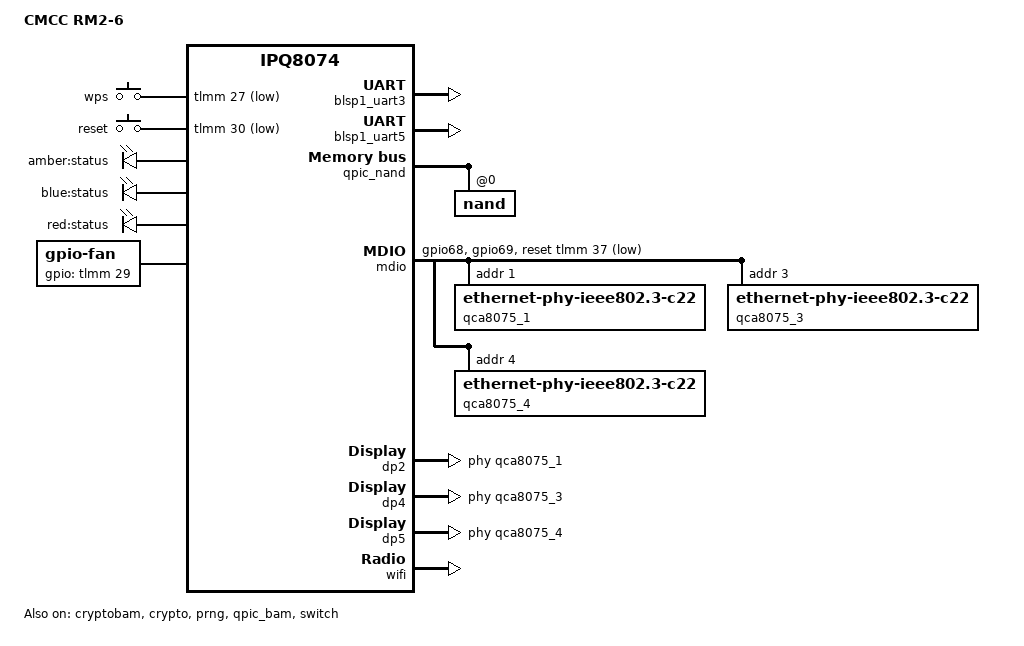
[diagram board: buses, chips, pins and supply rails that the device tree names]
// SPDX-License-Identifier: GPL-2.0-or-later OR MIT

/dts-v1/;

#include "ipq8074-512m.dtsi"
#include "ipq8074-ac-cpu.dtsi"
#include "ipq8074-ess.dtsi"
#include "ipq8074-nss.dtsi"
#include <dt-bindings/gpio/gpio.h>
#include <dt-bindings/input/input.h>

/ {
	model = "CMCC RM2-6";
	compatible = "cmcc,rm2-6", "qcom,ipq8074";

	aliases {
		serial0 = &blsp1_uart5;
		serial1 = &blsp1_uart3;
		led-boot = &led_status_red;
		led-failsafe = &led_status_red;
		led-running = &led_status_blue;
		led-upgrade = &led_status_amber;
		/*
		 * Aliases as required by u-boot
		 * to patch MAC addresses
		 */
		ethernet0 = &dp4;
		ethernet1 = &dp2;
		ethernet2 = &dp5;
		label-mac-device = &dp4;
	};

	chosen {
		stdout-path = "serial0:115200n8";
		bootargs-append = " root=/dev/ubiblock0_1";
	};

	keys {
		compatible = "gpio-keys";

		wps {
			label = "wps";
			linux,code = <KEY_WPS_BUTTON>;
			gpios = <&tlmm 27 GPIO_ACTIVE_LOW>;
		};

		reset {
			label = "reset";
			linux,code = <KEY_RESTART>;
			gpios = <&tlmm 30 GPIO_ACTIVE_LOW>;
		};
	};

	leds {
		compatible = "gpio-leds";

		led_status_amber: status-amber {
			label = "amber:status";
			gpio = <&tlmm 25 GPIO_ACTIVE_HIGH>;
		};

		led_status_blue: status-blue {
			label = "blue:status";
			gpio = <&tlmm 26 GPIO_ACTIVE_HIGH>;
		};

		led_status_red: status-red {
			label = "red:status";
			gpio = <&tlmm 31 GPIO_ACTIVE_HIGH>;
		};
	};

	fan: gpio-fan {
		#cooling-cells = <2>;
		compatible = "gpio-fan";
		gpio = <&tlmm 29 GPIO_ACTIVE_HIGH>;
		gpio-fan,speed-map = <0 0>, <1 1>;
	};
};

&tlmm {
	mdio_pins: mdio-pins {
		mdc {
			pins = "gpio68";
			function = "mdc";
			drive-strength = <8>;
			bias-pull-up;
		};

		mdio {
			pins = "gpio69";
			function = "mdio";
			drive-strength = <8>;
			bias-pull-up;
		};
	};
};

&blsp1_uart3 {
	status = "okay";
};

&blsp1_uart5 {
	status = "okay";
};

&cryptobam {
	status = "okay";
};

&crypto {
	status = "okay";
};

&prng {
	status = "okay";
};

&qpic_bam {
	status = "okay";
};

&qpic_nand {
	status = "okay";

	nand@0 {
		reg = <0>;
		nand-ecc-strength = <8>;
		nand-ecc-step-size = <512>;
		nand-bus-width = <8>;

		partitions {
			compatible = "qcom,smem-part";
		};
	};
};

&cpu0_thermal {
	trips {
		cpu0_trip_active: cpu-active {
			temperature = <60000>;
			hysteresis = <2000>;
			type = "active";
		};
	};

	cooling-maps {
		cpu-active {
			cooling-device = <&fan 1 1>;
			trip = <&cpu0_trip_active>;
		};
	};
};

&cluster_thermal {
	trips {
		cluster_active: cluster-active {
			temperature = <60000>;
			hysteresis = <2000>;
			type = "active";
		};
	};

	cooling-maps {
		cluster-active {
			cooling-device = <&fan 1 1>;
			trip = <&cluster_active>;
		};
	};
};

&mdio {
	status = "okay";

	pinctrl-0 = <&mdio_pins>;
	pinctrl-names = "default";
	reset-gpios = <&tlmm 37 GPIO_ACTIVE_LOW>;

	qca8075_1: ethernet-phy@1 {
		compatible = "ethernet-phy-ieee802.3-c22";
		reg = <1>;
	};

	qca8075_3: ethernet-phy@3 {
		compatible = "ethernet-phy-ieee802.3-c22";
		reg = <3>;
	};

	qca8075_4: ethernet-phy@4 {
		compatible = "ethernet-phy-ieee802.3-c22";
		reg = <4>;
	};
};

&switch {
	status = "okay";

	switch_cpu_bmp = <0x1>;  /* cpu port bitmap */
	switch_lan_bmp = <0x1e>; /* lan port bitmap */
	switch_wan_bmp = <0x20>; /* wan port bitmap */
	switch_mac_mode = <0x0>; /* mac mode for uniphy instance0*/
	switch_mac_mode1 = <0xff>; /* mac mode for uniphy instance1*/
	switch_mac_mode2 = <0xff>; /* mac mode for uniphy instance2*/
	bm_tick_mode = <0>; /* bm tick mode */
	tm_tick_mode = <0>; /* tm tick mode */

	qcom,port_phyinfo {
		port@2 {
			port_id = <2>;
			phy_address = <1>;
		};
		port@4 {
			port_id = <4>;
			phy_address = <3>;
		};
		port@5 {
			port_id = <5>;
			phy_address = <4>;
		};
	};
};

&edma {
	status = "okay";
};

/* Hi5630 PLC */
&dp2 {
	status = "okay";
	phy-handle = <&qca8075_1>;
	label = "plc";
};

&dp4 {
	status = "okay";
	phy-handle = <&qca8075_3>;
	label = "lan";
};

&dp5 {
	status = "okay";
	phy-handle = <&qca8075_4>;
	label = "wan";
};

&wifi {
	status = "okay";

	qcom,ath11k-calibration-variant = "CMCC-RM2-6";
	qcom,ath11k-fw-memory-mode = <1>;
};
